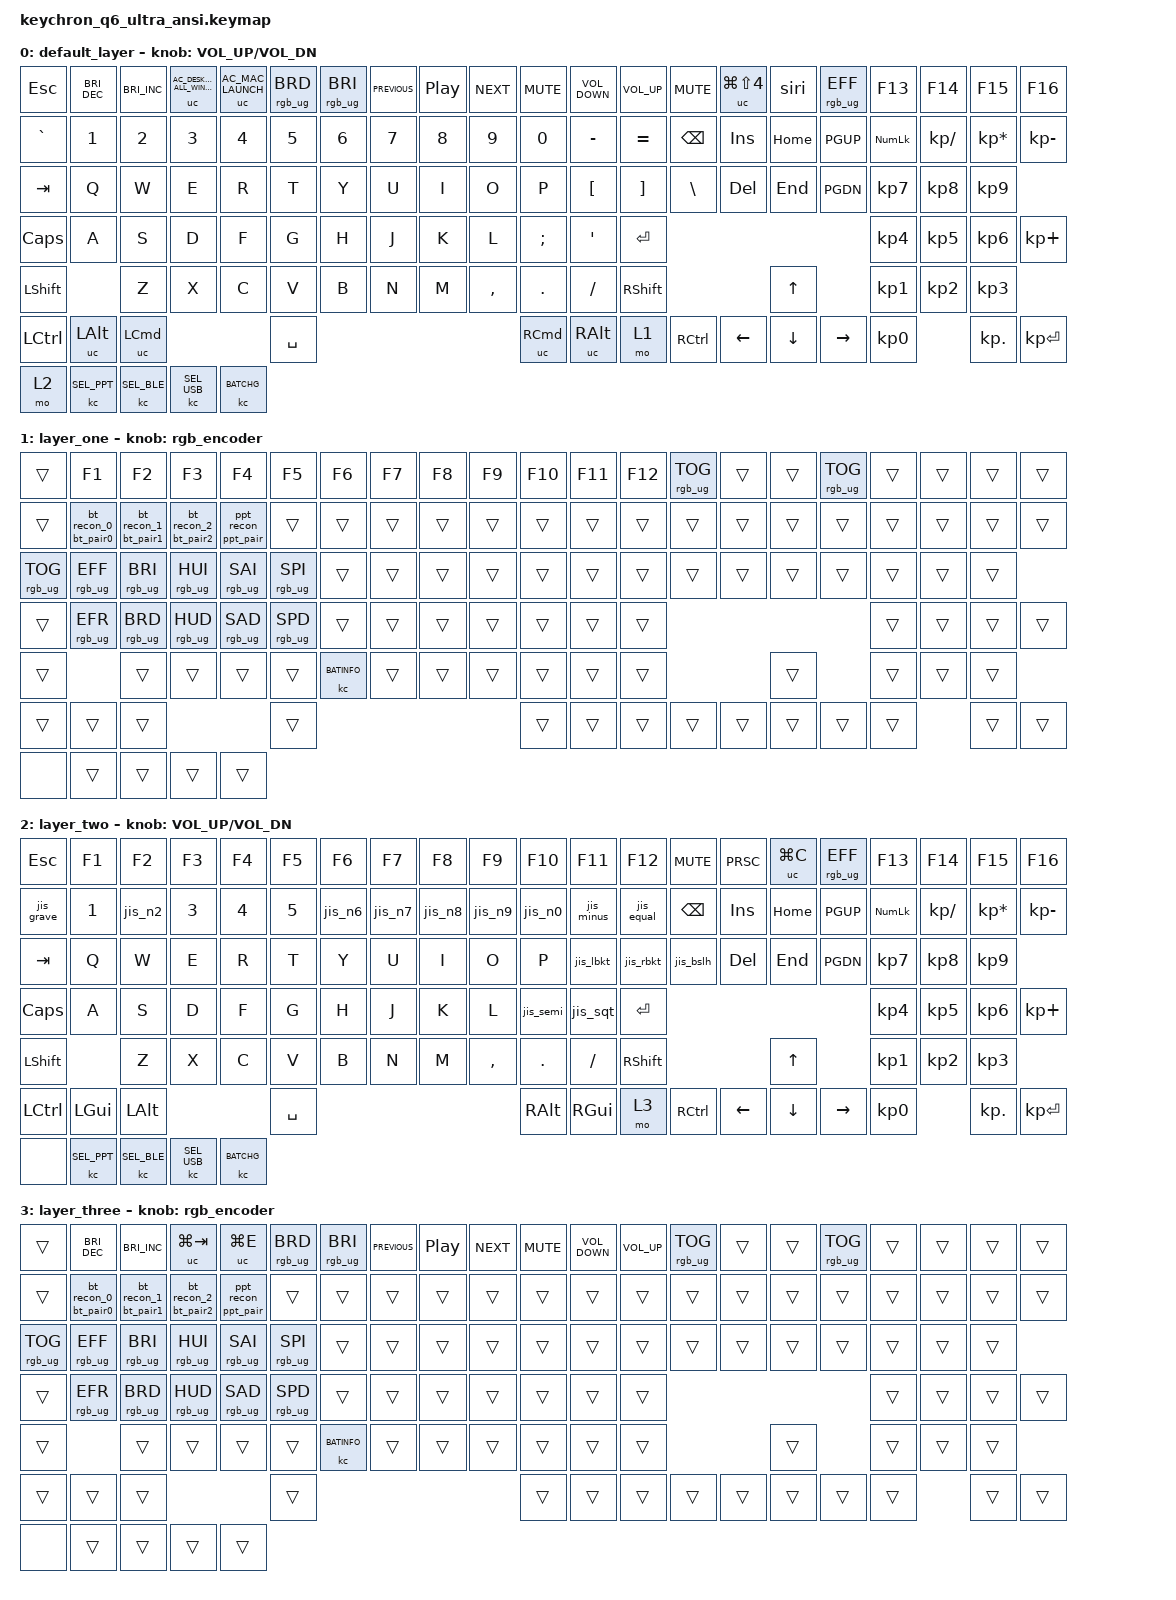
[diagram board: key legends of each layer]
/*
 * Copyright (c) 2023 The ZMK Contributors
 *
 * SPDX-License-Identifier: MIT
 */

#include <behaviors.dtsi>
#include <dt-bindings/zmk/bt.h>
#include <dt-bindings/zmk/keys.h>
#include <dt-bindings/zmk/rgb.h>
#include <dt-bindings/zmk/bt.h>
#include <dt-bindings/zmk/outputs.h>
#include <dt-bindings/zmk/keychron.h>


/ {
    behaviors {
        rgb_encoder: rgb_encoder {
            compatible = "zmk,behavior-sensor-rotate";
            #sensor-binding-cells = <0>;
            bindings = <&rgb_ug RGB_BRI>, <&rgb_ug RGB_BRD>;
            tap-ms =<20>;
        };
        mouse_encoder: mouse_encoder {
            compatible = "zmk,behavior-sensor-rotate-var";
            #sensor-binding-cells = <2>;
            bindings = <&mkp>, <&mkp>;
            tap-ms =<20>;
        };

        // ==========================================================
        // ここから下は Keychron 標準ファームウェアには存在しない追記です。
        // 目的: ANSI物理配列のキーボードを、OS側の設定を「日本語キーボード」
        // (JIS 106/109) のままにして使う際の、記号キーの表示ズレを補正する。
        // 参考にした一次情報:
        //  - sekigon-gonnoc氏 Keyboard Quantizer の os_key_override (QMK Key Override)
        //  - kloir-z氏「ZMK OS設定を日本語キーボードのまま使う」(note.com)
        //  - Keychron B1 Pro ZMKでの実装例(緑茶緑々氏, note.com)
        // 各キーコード名(AT, CARET, INT3 等)はZMK本体 keys.h で定義済みの
        // 標準エイリアスのみを使用しており、独自の#defineは行っていない。
        // ==========================================================

        // ` (無変換) / ~ (Shift)
        jis_grave: jis_grave {
            compatible = "zmk,behavior-mod-morph";
            label = "JIS_GRAVE";
            #binding-cells = <0>;
            bindings = <&kp LEFT_BRACE>, <&kp PLUS>;
            mods = <(MOD_LSFT|MOD_RSFT)>;
        };
        // 2 (無変換) / @ (Shift)
        jis_n2: jis_n2 {
            compatible = "zmk,behavior-mod-morph";
            label = "JIS_N2";
            #binding-cells = <0>;
            bindings = <&kp N2>, <&kp LEFT_BRACKET>;
            mods = <(MOD_LSFT|MOD_RSFT)>;
        };
        // 6 (無変換) / ^ (Shift)
        jis_n6: jis_n6 {
            compatible = "zmk,behavior-mod-morph";
            label = "JIS_N6";
            #binding-cells = <0>;
            bindings = <&kp N6>, <&kp EQUAL>;
            mods = <(MOD_LSFT|MOD_RSFT)>;
        };
        // 7 (無変換) / & (Shift)
        jis_n7: jis_n7 {
            compatible = "zmk,behavior-mod-morph";
            label = "JIS_N7";
            #binding-cells = <0>;
            bindings = <&kp N7>, <&kp CARET>;
            mods = <(MOD_LSFT|MOD_RSFT)>;
        };
        // 8 (無変換) / * (Shift)
        jis_n8: jis_n8 {
            compatible = "zmk,behavior-mod-morph";
            label = "JIS_N8";
            #binding-cells = <0>;
            bindings = <&kp N8>, <&kp SINGLE_QUOTE>;
            mods = <(MOD_LSFT|MOD_RSFT)>;
        };
        // 9 (無変換) / ( (Shift)
        jis_n9: jis_n9 {
            compatible = "zmk,behavior-mod-morph";
            label = "JIS_N9";
            #binding-cells = <0>;
            bindings = <&kp N9>, <&kp ASTERISK>;
            mods = <(MOD_LSFT|MOD_RSFT)>;
        };
        // 0 (無変換) / ) (Shift)
        jis_n0: jis_n0 {
            compatible = "zmk,behavior-mod-morph";
            label = "JIS_N0";
            #binding-cells = <0>;
            bindings = <&kp N0>, <&kp LEFT_PARENTHESIS>;
            mods = <(MOD_LSFT|MOD_RSFT)>;
        };
        // - (無変換) / _ (Shift)
        jis_minus: jis_minus {
            compatible = "zmk,behavior-mod-morph";
            label = "JIS_MINUS";
            #binding-cells = <0>;
            bindings = <&kp MINUS>, <&kp LS(INT1)>;
            mods = <(MOD_LSFT|MOD_RSFT)>;
        };
        // = (無変換) / + (Shift)
        jis_equal: jis_equal {
            compatible = "zmk,behavior-mod-morph";
            label = "JIS_EQUAL";
            #binding-cells = <0>;
            bindings = <&kp UNDER>, <&kp COLON>;
            mods = <(MOD_LSFT|MOD_RSFT)>;
        };
        // [ (無変換) / { (Shift)
        jis_lbkt: jis_lbkt {
            compatible = "zmk,behavior-mod-morph";
            label = "JIS_LBKT";
            #binding-cells = <0>;
            bindings = <&kp RIGHT_BRACKET>, <&kp RIGHT_BRACE>;
            mods = <(MOD_LSFT|MOD_RSFT)>;
        };
        // ] (無変換) / } (Shift)
        jis_rbkt: jis_rbkt {
            compatible = "zmk,behavior-mod-morph";
            label = "JIS_RBKT";
            #binding-cells = <0>;
            bindings = <&kp BACKSLASH>, <&kp PIPE>;
            mods = <(MOD_LSFT|MOD_RSFT)>;
        };
        // \ (無変換、¥として表示) / | (Shift)
        jis_bslh: jis_bslh {
            compatible = "zmk,behavior-mod-morph";
            label = "JIS_BSLH";
            #binding-cells = <0>;
            bindings = <&kp INT3>, <&kp LS(INT3)>;
            mods = <(MOD_LSFT|MOD_RSFT)>;
        };
        // ; (無変換) / : (Shift)
        jis_semi: jis_semi {
            compatible = "zmk,behavior-mod-morph";
            label = "JIS_SEMI";
            #binding-cells = <0>;
            bindings = <&kp SEMI>, <&kp SINGLE_QUOTE>;
            mods = <(MOD_LSFT|MOD_RSFT)>;
        };
        // ' (無変換) / " (Shift)
        jis_sqt: jis_sqt {
            compatible = "zmk,behavior-mod-morph";
            label = "JIS_SQT";
            #binding-cells = <0>;
            bindings = <&kp AMPERSAND>, <&kp AT>;
            mods = <(MOD_LSFT|MOD_RSFT)>;
        };
    };
    macro1:zm_ma{
        compatible = "zmk,behavior-macro-one-param";
        #binding-cells = <1>;
        bindings=<&kp 0x770000>;
    };
    siri: siri {
        compatible = "zmk,behavior-macro";
        #binding-cells = <0>;
        bindings
        = <&macro_tap_time 500>
        , <&uc LG(SPACE)>
        ;
    };
    lm: layer_mod {
        compatible = "zmk,behavior-macro-two-param";
        wait-ms = <0>;
        tap-ms = <0>;
        #binding-cells = <2>;
        bindings
            = <&macro_param_1to1>
            , <&macro_press &mo 0>
            , <&macro_param_2to1>
            , <&macro_press &kp 0>
            , <&macro_pause_for_release>
            , <&macro_param_2to1>
            , <&macro_release &kp 0>
            , <&macro_param_1to1>
            , <&macro_release &mo 0>
            ;
    };
    td1:tapd_layer{
        compatible = "zmk,behavior-tap-dance1";
        #binding-cells = <1>;
        tapping-term-ms = <350>;
        bindings =<&mo 0>,<&mo 0>,<&mo 0>,<&mo 0>,<&to 0>;
    };

    kc_lp:l1{
        compatible = "zmk,behavior-hold-tap";
        #binding-cells = <2>;
        flavor = "tap-preferred";
        tapping-term-ms = <3000>;  // delay amount in ms
        bindings = <&kc>,<&none>;
    };

    long_press_bootloader:lp_bootloader{
        compatible = "zmk,behavior-hold-tap";
        #binding-cells = <2>;
        flavor = "tap-preferred";
        tapping-term-ms = <3000>;  // delay amount in ms
        bindings = <&bootloader>, <&none>;
    };
    // kc_nkro:kc_nkro{
    //     compatible = "zmk,behavior-hold-tap";
    //     #binding-cells = <2>;
    //     flavor = "tap-preferred";
    //     tapping-term-ms = <2000>;  // delay amount in ms
    //     bindings = <&kc NKRO>, <&none>;
    // };
    ZMK_MACRO(bt_pair0, bindings = <&kc BT_PAIR 0>;)
    ZMK_MACRO(bt_pair1, bindings = <&kc BT_PAIR 1>;)
    ZMK_MACRO(bt_pair2, bindings = <&kc BT_PAIR 2>;)
    ZMK_MACRO(ppt_pair, bindings = <&kc PPT_PAIR 0>;)
    ZMK_MACRO(bt_recon_0, bindings = <&kc BT_SEL 0>;)
    ZMK_MACRO(bt_recon_1, bindings = <&kc BT_SEL 1>;)
    ZMK_MACRO(bt_recon_2, bindings = <&kc BT_SEL 2>;)
    ZMK_MACRO(ppt_recon, bindings = <&kc PPT_SEL 0>;)



    bt_pair_0: bt_pair_0 {
        compatible = "zmk,behavior-hold-tap";

        #binding-cells = <2>;
        flavor = "tap-preferred";
        tapping-term-ms = <3000>;  // delay amount in ms
        bindings = <&bt_pair0>, <&bt_recon_0>;
    };
    bt_pair_1: bt_pair_1 {
        compatible = "zmk,behavior-hold-tap";

        #binding-cells = <2>;
        flavor = "tap-preferred";
        tapping-term-ms = <3000>;  // delay amount in ms
        bindings = <&bt_pair1>, <&bt_recon_1>;
    };
    bt_pair_2: bt_pair_2 {
        compatible = "zmk,behavior-hold-tap";

        #binding-cells = <2>;
        flavor = "tap-preferred";
        tapping-term-ms = <3000>;  // delay amount in ms
        bindings = <&bt_pair2>, <&bt_recon_2>;
    };
    ppt_pair_0: ppt_pair_0 {
        compatible = "zmk,behavior-hold-tap";

        #binding-cells = <2>;
        flavor = "tap-preferred";
        tapping-term-ms = <3000>;  // delay amount in ms
        bindings = <&ppt_pair>, <&ppt_recon>;
    };
    uc:user_custom {
        compatible = "zmk,behavior-key-press";
        #binding-cells =<1>;
    };
    combos {
        compatible = "zmk,combos";
        combo_a {
                timeout-ms = <400>;
                layers =< 1 3>;
                key-positions = <69 80>; //fn+j+z
                bindings = <&kc_lp RCV>;
        };
        // combo_b {v
        //         timeout-ms = <1000>;
        //         layers =< 1 3>;
        //         key-positions = <64>; //fn+b
        //         bindings = <&kc BATINFO>;
        // };
        // combo_c {
        //         timeout-ms = <1000>;
        //         layers =< 1 3>;
        //         key-positions = <58 81>; //fn+home+right
        //         bindings = <&kc_lp RGBTEST>;
        // };
         combo_t0 {
            timeout-ms = <10 >;
            layers =<4>;
            key-positions = <120>;
            bindings = <&to 3 >;
        };
        combo_t1 {
            timeout-ms = <10 >;
            layers =<4>;
            key-positions = <120>;
            bindings = <&tog 3 >;
        };
        combo_t2 {
            timeout-ms = <10 >;
            layers =<4>;
            key-positions = <120>;
            bindings = <&sl 3 >;
        };
        combo_t3 {
            timeout-ms = <10 >;
            layers =<4>;
            key-positions = <120>;
            bindings = <&lt 3 SPACE>;
        };
        combo_t4 {
            timeout-ms = <10 >;
            layers =<4>;
            key-positions = <120>;
            bindings = <&sk LSHIFT>;
        };
        combo_t5 {
            timeout-ms = <10 >;
            layers =<4>;
            key-positions = <120>;
            bindings = <&mt LSHIFT SPACE>;
        };
        combo_t6 {
            timeout-ms = <10 >;
            layers =<4>;
            key-positions = <120>;
            bindings = <&gresc>;
        };
        //  combo_t7 {
        //     timeout-ms = <10 >;
        //     layers =<4>;
        //     key-positions = <120>;
        //     bindings = <&mkp 0>;
        // };
    };
    keymap {
        compatible = "zmk,keymap";
        //mac
        default_layer {
        bindings = <
          //ESC         //f1                    //f2                //f3                                    //f4                //f5                //f6            //f7            //f8                //f9        //f10       //f11               //f12               //Mute
        &kp ESC     &kp C_BRIGHTNESS_DEC    &kp C_BRIGHTNESS_INC    &uc C_AC_DESKTOP_SHOW_ALL_WINDOWS   &uc  C_AC_MAC_LAUNCH    &rgb_ug RGB_BRD     &rgb_ug RGB_BRI &kp C_PREVIOUS  &kp C_PLAY_PAUSE    &kp C_NEXT  &kp C_MUTE  &kp C_VOLUME_DOWN   &kp C_VOLUME_UP     &kp C_MUTE         &uc LG(LS(N4))       &siri               &rgb_ug RGB_EFF         &kp F13          &kp F14          &kp F15             &kp F16
        &kp GRAVE   &kp N1                  &kp N2                  &kp N3                              &kp N4                  &kp N5              &kp N6          &kp N7          &kp N8              &kp N9      &kp N0      &kp MINUS           &kp EQUAL           &kp BSPC           &kp INS              &kp HOME            &kp PGUP                &kp KP_NUMLOCK   &kp KP_SLASH     &kp KP_MULTIPLY     &kp KP_MINUS
        &kp TAB     &kp Q                   &kp W                   &kp E                               &kp R                   &kp T               &kp Y           &kp U           &kp I               &kp O       &kp P       &kp LBKT            &kp RBKT            &kp BSLH           &kp DEL              &kp END             &kp PGDN                &kp KP_N7        &kp KP_N8        &kp KP_N9
        &kp CLCK    &kp A                   &kp S                   &kp D                               &kp F                   &kp G               &kp H           &kp J           &kp K               &kp L       &kp SEMI    &kp SQT             &kp RET                                                                                                 &kp KP_N4        &kp KP_N5        &kp KP_N6           &kp KP_PLUS
        &kp LSHFT                           &kp Z                   &kp X                               &kp C                   &kp V               &kp B           &kp N           &kp M               &kp COMMA   &kp DOT     &kp FSLH            &kp RSHFT                                                   &kp UP                                      &kp KP_N1        &kp KP_N2        &kp KP_N3
        &kp LCTRL   &uc LALT                &uc LCMD                                                                            &kp SPACE                                                                           &uc RCMD    &uc RALT            &mo 1               &kp RCTRL          &kp LEFT             &kp DOWN            &kp RIGHT               &kp KP_N0                         &kp KP_DOT          &kp KP_ENTER
        //keychron control
        &mo 2       &kc SEL_PPT            &kc SEL_BLE              &kc SEL_USB             &kc BATCHG
            >;
            sensor-bindings = <&inc_dec_kp C_VOL_UP C_VOL_DN>;
        };
        //mac fn layer
        layer_one {
        bindings = <
        &trans              &kp F1                  &kp F2                  &kp F3                              &kp F4                  &kp F5              &kp F6          &kp F7          &kp F8              &kp F9      &kp F10     &kp F11             &kp F12             &rgb_ug RGB_TOG             &trans          &trans       &rgb_ug RGB_TOG            &trans    &trans          &trans       &trans
        &trans              &bt_pair_0 0 0          &bt_pair_1 0 0          &bt_pair_2 0 0                      &ppt_pair_0 0 0         &trans              &trans          &trans          &trans              &trans      &trans      &trans              &trans              &trans                      &trans          &trans       &trans                     &trans    &trans          &trans       &trans
        &rgb_ug RGB_TOG     &rgb_ug RGB_EFF         &rgb_ug RGB_BRI         &rgb_ug RGB_HUI                     &rgb_ug RGB_SAI         &rgb_ug RGB_SPI     &trans          &trans          &trans              &trans      &trans      &trans              &trans              &trans                      &trans          &trans       &trans                     &trans    &trans          &trans
        &trans              &rgb_ug RGB_EFR         &rgb_ug RGB_BRD         &rgb_ug RGB_HUD                     &rgb_ug RGB_SAD         &rgb_ug RGB_SPD     &trans          &trans          &trans              &trans      &trans      &trans              &trans                                                                                                  &trans    &trans          &trans       &trans
        &trans                                      &trans                  &trans                              &trans                  &trans              &kc BATINFO     &trans          &trans              &trans      &trans      &trans              &trans                                                          &trans                                  &trans    &trans          &trans
        &trans              &trans                  &trans                                                                              &trans                                                                              &trans      &trans              &trans              &trans                      &trans          &trans       &trans                     &trans                    &trans       &trans
        //
        &none               &trans                  &trans                   &trans        &trans
        >;
        sensor-bindings = <&rgb_encoder>;
        };

        //win
        // ※ 数字行・記号キーの一部は、OS側キーボード設定が「日本語」の場合に
        //   ANSIキーキャップの見た目通りの文字が入力されるよう、
        //   上記 jis_* ビヘイビア(追記分)に置き換えています。
        layer_two {
        bindings = <
        &kp ESC     &kp F1                 &kp F2                   &kp F3                              &kp F4                  &kp F5              &kp F6          &kp F7          &kp F8              &kp F9       &kp F10    &kp F11              &kp F12             &kp C_MUTE      &kp PRSC   &uc LG(C)     &rgb_ug RGB_EFF         &kp F13          &kp F14          &kp F15             &kp F16
        &jis_grave  &kp N1                 &jis_n2                  &kp N3                              &kp N4                  &kp N5              &jis_n6         &jis_n7         &jis_n8             &jis_n9      &jis_n0    &jis_minus           &jis_equal          &kp BSPC        &kp INS    &kp HOME      &kp PGUP                &kp KP_NUMLOCK   &kp KP_SLASH     &kp KP_MULTIPLY     &kp KP_MINUS
        &kp TAB     &kp Q                  &kp W                    &kp E                               &kp R                   &kp T               &kp Y           &kp U           &kp I               &kp O        &kp P      &jis_lbkt            &jis_rbkt           &jis_bslh       &kp DEL    &kp END       &kp PGDN                &kp KP_N7        &kp KP_N8        &kp KP_N9
        &kp CLCK    &kp A                  &kp S                    &kp D                               &kp F                   &kp G               &kp H           &kp J           &kp K               &kp L        &jis_semi  &jis_sqt             &kp RET                                                                              &kp KP_N4        &kp KP_N5        &kp KP_N6           &kp KP_PLUS
        &kp LSHFT                          &kp Z                    &kp X                               &kp C                   &kp V               &kp B           &kp N           &kp M               &kp COMMA    &kp DOT    &kp FSLH             &kp RSHFT                                      &kp UP                                &kp KP_N1        &kp KP_N2        &kp KP_N3
        &kp LCTRL   &kp LGUI               &kp LALT                                                                             &kp SPACE                                                                            &kp RALT   &kp RGUI             &mo 3               &kp RCTRL       &kp LEFT   &kp DOWN      &kp RIGHT               &kp KP_N0                         &kp KP_DOT          &kp KP_ENTER
        //keychron control
        &none       &kc SEL_PPT            &kc SEL_BLE            &kc SEL_USB             &kc BATCHG
        >;
        sensor-bindings = <&inc_dec_kp C_VOL_UP C_VOL_DN>;
        };
        //win fn layer
        layer_three {
        bindings = <
                                        //f1                        //f2                        //f3                                //f4                        //f5            //f6                //f7            //f8                //f9        //f10           //f11                         //f12
        &trans                          &kp C_BRIGHTNESS_DEC        &kp C_BRIGHTNESS_INC        &uc LG(TAB)                         &uc LG(E)               &rgb_ug RGB_BRD     &rgb_ug RGB_BRI     &kp C_PREVIOUS  &kp C_PLAY_PAUSE    &kp C_NEXT  &kp C_MUTE  &kp C_VOLUME_DOWN           &kp C_VOLUME_UP      &rgb_ug RGB_TOG                 &trans          &trans       &rgb_ug RGB_TOG           &trans    &trans          &trans       &trans
        &trans                          &bt_pair_0 0 0              &bt_pair_1 0 0              &bt_pair_2 0 0                      &ppt_pair_0 0 0         &trans              &trans              &trans          &trans              &trans      &trans      &trans                      &trans               &trans                          &trans          &trans       &trans                    &trans    &trans          &trans       &trans
        &rgb_ug RGB_TOG                 &rgb_ug RGB_EFF             &rgb_ug RGB_BRI             &rgb_ug RGB_HUI                     &rgb_ug RGB_SAI         &rgb_ug RGB_SPI     &trans              &trans          &trans              &trans      &trans      &trans                      &trans               &trans                          &trans          &trans       &trans                    &trans    &trans          &trans
        &trans                          &rgb_ug RGB_EFR             &rgb_ug RGB_BRD             &rgb_ug RGB_HUD                     &rgb_ug RGB_SAD         &rgb_ug RGB_SPD     &trans              &trans          &trans              &trans      &trans      &trans                      &trans                                                                                                      &trans    &trans          &trans       &trans
        &trans                                                      &trans                      &trans                              &trans                  &trans              &kc BATINFO         &trans          &trans              &trans      &trans      &trans                      &trans                                                               &trans                                 &trans    &trans          &trans
        &trans                          &trans                      &trans                                                                                  &trans                                                                                  &trans      &trans                      &trans               &trans                          &trans          &trans       &trans                    &trans                    &trans       &trans
        //
        &none                           &trans                      &trans                      &trans                             &trans
        >;
        sensor-bindings = <&rgb_encoder>;
        };

    };
};
&mt {
    tapping-term-ms = <400>;
};
&inc_dec_kp {
    tap-ms=<20>;
};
